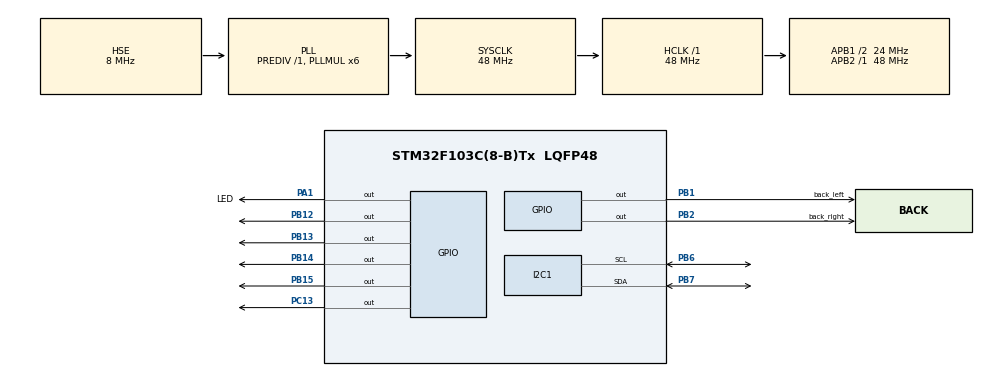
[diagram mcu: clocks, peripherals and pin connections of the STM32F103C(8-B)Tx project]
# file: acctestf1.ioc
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I2C1.I2C_Mode=I2C_Standard
Mcu.Family=STM32F1
Mcu.Name=STM32F103C(8-B)Tx
Mcu.Package=LQFP48
NVIC.PriorityGroup=NVIC_PRIORITYGROUP_4
PA1.GPIO_Label=LED
PA1.Signal=GPIO_Output
PA13.Mode=Serial_Wire
PA13.Signal=SYS_JTMS-SWDIO
PA14.Mode=Serial_Wire
PA14.Signal=SYS_JTCK-SWCLK
PB1.GPIO_Label=back_left
PB1.Signal=GPIO_Output
PB12.Signal=GPIO_Output
PB13.Signal=GPIO_Output
PB14.Signal=GPIO_Output
PB15.Signal=GPIO_Output
PB2.GPIO_Label=back_right
PB2.Signal=GPIO_Output
PB6.Mode=I2C
PB6.Signal=I2C1_SCL
PB7.Mode=I2C
PB7.Signal=I2C1_SDA
PC13-TAMPER-RTC.PinState=GPIO_PIN_SET
PC13-TAMPER-RTC.Signal=GPIO_Output
PC14-OSC32_IN.Mode=LSE-External-Oscillator
PC14-OSC32_IN.Signal=RCC_OSC32_IN
PC15-OSC32_OUT.Mode=LSE-External-Oscillator
PC15-OSC32_OUT.Signal=RCC_OSC32_OUT
PD0-OSC_IN.Mode=HSE-External-Oscillator
PD0-OSC_IN.Signal=RCC_OSC_IN
PD1-OSC_OUT.Mode=HSE-External-Oscillator
PD1-OSC_OUT.Signal=RCC_OSC_OUT
ProjectManager.HeapSize=0x400
ProjectManager.StackSize=0x400
ProjectManager.TargetToolchain=SW4STM32
RCC.AHBFreq_Value=48000000
RCC.APB1CLKDivider=RCC_HCLK_DIV2
RCC.APB1Freq_Value=24000000
RCC.APB1TimFreq_Value=48000000
RCC.APB2Freq_Value=48000000
RCC.APB2TimFreq_Value=48000000
RCC.EnbaleCSS=true
RCC.HCLKFreq_Value=48000000
RCC.PLLMUL=RCC_PLL_MUL6
RCC.PLLSourceVirtual=RCC_PLLSOURCE_HSE
RCC.SYSCLKFreq_VALUE=48000000
RCC.SYSCLKSource=RCC_SYSCLKSOURCE_PLLCLK
RCC.USBFreq_Value=48000000
board=custom

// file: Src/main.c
/* USER CODE BEGIN Header */
/**
  ******************************************************************************
  * @file           : main.c
  * @brief          : Main program body
  ******************************************************************************
  * @attention
  *
  * <h2><center>&copy; Copyright (c) 2020 STMicroelectronics.
  * All rights reserved.</center></h2>
  *
  * This software component is licensed by ST under BSD 3-Clause license,
  * the "License"; You may not use this file except in compliance with the
  * License. You may obtain a copy of the License at:
  *                        opensource.org/licenses/BSD-3-Clause
  *
  ******************************************************************************
  */
/* USER CODE END Header */

#include "main.h"

/* USER CODE BEGIN Includes */
#include "u8g2.h"
/* USER CODE END Includes */

/* USER CODE BEGIN PTD */
typedef struct accel{
	int8_t x;
	int8_t y;
	int8_t z;
}acc;
/* USER CODE END PTD */

I2C_HandleTypeDef hi2c1;

/* USER CODE BEGIN PV */
static u8g2_t u8g2;
/* USER CODE END PV */

void SystemClock_Config(void);
static void MX_GPIO_Init(void);
static void MX_I2C1_Init(void);
/* USER CODE BEGIN PFP */
extern uint8_t u8x8_stm32_gpio_and_delay(u8x8_t *u8x8, uint8_t msg, uint8_t arg_int, void *arg_ptr);
extern uint8_t u8x8_byte_stm32_hw_i2c(u8x8_t *u8x8, uint8_t msg, uint8_t arg_int, void *arg_ptr);
/* USER CODE END PFP */

/* USER CODE BEGIN 0 */

acc readacc(void){
	acc axis;
	uint8_t i2cbuffer[8];
	i2cbuffer[0] = 0b10101000;
	HAL_I2C_Master_Transmit(&hi2c1,0b0011001<<1,i2cbuffer,1,1000);
	HAL_I2C_Master_Receive(&hi2c1,0b00110011,i2cbuffer,6,1000);
	//HAL_GPIO_TogglePin(GPIOC,GPIO_PIN_13);
	axis.x = i2cbuffer[1];
	axis.y = i2cbuffer[3];
	axis.z = i2cbuffer[5];
	return axis;
}

void legstoground(){
	acc pos;
	acc last_pos;
	last_pos = readacc();
	//start front motors
	HAL_GPIO_WritePin(GPIOB,GPIO_PIN_3,1);
	HAL_GPIO_WritePin(GPIOB,GPIO_PIN_4,1);
	//HAL_GPIO
	HAL_Delay(10);
	pos = readacc();
	while (!(last_pos.x+2 > pos.x || last_pos.x-2 < pos.x)){
		pos = readacc();
		//retract front time
	}
	HAL_GPIO_WritePin(GPIOB,GPIO_PIN_3,1);
	HAL_GPIO_WritePin(GPIOB,GPIO_PIN_4,1);
	HAL_Delay(10);
	HAL_GPIO_WritePin(GPIOB,GPIO_PIN_1,1);
	HAL_GPIO_WritePin(GPIOB,GPIO_PIN_2,1);
	HAL_Delay(10);
	while (!(last_pos.y+2 > pos.y || last_pos.y-2 < pos.y)){

	}

}

/* USER CODE END 0 */

int main(void)
{

  /* MCU Configuration--------------------------------------------------------*/

  /* Reset of all peripherals, Initializes the Flash interface and the Systick. */
  HAL_Init();

  /* Configure the system clock */
  SystemClock_Config();

  /* Initialize all configured peripherals */
  MX_GPIO_Init();
  MX_I2C1_Init();
  /* USER CODE BEGIN 2 */
  uint8_t buffer[8];
  acc position;

	__HAL_RCC_I2C1_FORCE_RESET();
  HAL_Delay(200);
  __HAL_RCC_I2C1_RELEASE_RESET();

  u8g2_Setup_ssd1306_128x32_winstar_1(&u8g2, U8G2_R0, u8x8_byte_stm32_hw_i2c, u8x8_stm32_gpio_and_delay);

  u8g2_InitDisplay(&u8g2);
  u8g2_SetPowerSave(&u8g2, 0);

  buffer[0] = 0x20;
  buffer[1] = 0b01000111;
  //HAL_StatusTypeDef status = HAL_BUSY;
  HAL_I2C_Master_Transmit(&hi2c1,0b0011001<<1,buffer,2,2000);
  //buffer[0] = 0b00000111;
  //HAL_I2C_Master_Transmit(&hi2c1,0b0011001<<1,buffer,1,500);
  /*position = readi2c();
  if (position.x > 127){
  	position.x = !position.x;
  	dir = "-";
  }
  if (position.y > 127){
      position.y = !position.y;
      dir = "-";
  }
  if (position.z > 127){
      position.z = !position.z;
      dir = "-";
  }
  if (position.x > position.y && position.x > position.z){
  	down = 'x';
  }
  if (position.y > position.x && position.y > position.z){
  	down = 'y';
  }
  if (position.z > position.x && position.z > position.y){
  	down = 'z';
  }*/
  /* USER CODE END 2 */

  /* Infinite loop */
  while (1)
  {

    /* USER CODE BEGIN 3 */
	position = readacc();
	HAL_GPIO_WritePin(GPIOB,GPIO_PIN_15,0);
	HAL_GPIO_WritePin(GPIOB,GPIO_PIN_14,0);
	HAL_GPIO_WritePin(GPIOB,GPIO_PIN_13,0);
	HAL_GPIO_WritePin(GPIOB,GPIO_PIN_12,0);
	if (position.x < -2 && position.y < -2){
		HAL_GPIO_WritePin(GPIOB,GPIO_PIN_15,1);//fl
	}
	if (position.x < -2 && position.y > 2){
		HAL_GPIO_WritePin(GPIOB,GPIO_PIN_14,1);//fr
		u8g2_FirstPage(&u8g2);
		do{
			u8g2_SetFont(&u8g2,u8g2_font_5x7_tr);
			u8g2_DrawStr(&u8g2,0,7,"Hello World!");
		}while (u8g2_NextPage(&u8g2));
	}
	if (position.x > 2 && position.y < -2){
		HAL_GPIO_WritePin(GPIOB,GPIO_PIN_13,1);//bl
	}
	if (position.x > 2 && position.y > 2){
		HAL_GPIO_WritePin(GPIOB,GPIO_PIN_12,1);//br
	}
	if (position.x < -2 && (position.y >= -2 && position.y <= 2)){//f
		HAL_GPIO_WritePin(GPIOB,GPIO_PIN_15,1);
		HAL_GPIO_WritePin(GPIOB,GPIO_PIN_14,1);
	}
	if (position.x > 2 && (position.y >= -2 && position.y <= 2)){//b
		HAL_GPIO_WritePin(GPIOB,GPIO_PIN_12,1);
		HAL_GPIO_WritePin(GPIOB,GPIO_PIN_13,1);
	}
	if (position.y < -2 && (position.x >= -2 && position.x <= 2)){//l
		HAL_GPIO_WritePin(GPIOB,GPIO_PIN_15,1);
		HAL_GPIO_WritePin(GPIOB,GPIO_PIN_13,1);
	}
	if (position.y > 2 && (position.x >= -2 && position.x <= 2)){//r
		HAL_GPIO_WritePin(GPIOB,GPIO_PIN_14,1);
		HAL_GPIO_WritePin(GPIOB,GPIO_PIN_12,1);
	}
	HAL_Delay(100);
  }
  /* USER CODE END 3 */
}

void SystemClock_Config(void)
{
  RCC_OscInitTypeDef RCC_OscInitStruct = {0};
  RCC_ClkInitTypeDef RCC_ClkInitStruct = {0};

  /** Initializes the CPU, AHB and APB busses clocks
  */
  RCC_OscInitStruct.OscillatorType = RCC_OSCILLATORTYPE_HSE;
  RCC_OscInitStruct.HSEState = RCC_HSE_ON;
  RCC_OscInitStruct.HSEPredivValue = RCC_HSE_PREDIV_DIV1;
  RCC_OscInitStruct.HSIState = RCC_HSI_ON;
  RCC_OscInitStruct.PLL.PLLState = RCC_PLL_ON;
  RCC_OscInitStruct.PLL.PLLSource = RCC_PLLSOURCE_HSE;
  RCC_OscInitStruct.PLL.PLLMUL = RCC_PLL_MUL6;
  if (HAL_RCC_OscConfig(&RCC_OscInitStruct) != HAL_OK)
  {
    Error_Handler();
  }
  /** Initializes the CPU, AHB and APB busses clocks
  */
  RCC_ClkInitStruct.ClockType = RCC_CLOCKTYPE_HCLK|RCC_CLOCKTYPE_SYSCLK
                              |RCC_CLOCKTYPE_PCLK1|RCC_CLOCKTYPE_PCLK2;
  RCC_ClkInitStruct.SYSCLKSource = RCC_SYSCLKSOURCE_PLLCLK;
  RCC_ClkInitStruct.AHBCLKDivider = RCC_SYSCLK_DIV1;
  RCC_ClkInitStruct.APB1CLKDivider = RCC_HCLK_DIV2;
  RCC_ClkInitStruct.APB2CLKDivider = RCC_HCLK_DIV1;

  if (HAL_RCC_ClockConfig(&RCC_ClkInitStruct, FLASH_LATENCY_1) != HAL_OK)
  {
    Error_Handler();
  }
  /** Enables the Clock Security System
  */
  HAL_RCC_EnableCSS();
}

static void MX_I2C1_Init(void)
{

  hi2c1.Instance = I2C1;
  hi2c1.Init.ClockSpeed = 100000;
  hi2c1.Init.DutyCycle = I2C_DUTYCYCLE_2;
  hi2c1.Init.OwnAddress1 = 0;
  hi2c1.Init.AddressingMode = I2C_ADDRESSINGMODE_7BIT;
  hi2c1.Init.DualAddressMode = I2C_DUALADDRESS_DISABLE;
  hi2c1.Init.OwnAddress2 = 0;
  hi2c1.Init.GeneralCallMode = I2C_GENERALCALL_DISABLE;
  hi2c1.Init.NoStretchMode = I2C_NOSTRETCH_DISABLE;
  if (HAL_I2C_Init(&hi2c1) != HAL_OK)
  {
    Error_Handler();
  }

}

static void MX_GPIO_Init(void)
{
  GPIO_InitTypeDef GPIO_InitStruct = {0};

  /* GPIO Ports Clock Enable */
  __HAL_RCC_GPIOC_CLK_ENABLE();
  __HAL_RCC_GPIOD_CLK_ENABLE();
  __HAL_RCC_GPIOA_CLK_ENABLE();
  __HAL_RCC_GPIOB_CLK_ENABLE();

  /*Configure GPIO pin Output Level */
  HAL_GPIO_WritePin(GPIOC, GPIO_PIN_13, GPIO_PIN_SET);

  /*Configure GPIO pin Output Level */
  HAL_GPIO_WritePin(LED_GPIO_Port, LED_Pin, GPIO_PIN_RESET);

  /*Configure GPIO pin Output Level */
  HAL_GPIO_WritePin(GPIOB, back_left_Pin|back_right_Pin|GPIO_PIN_12|GPIO_PIN_13
                          |GPIO_PIN_14|GPIO_PIN_15, GPIO_PIN_RESET);

  /*Configure GPIO pin : PC13 */
  GPIO_InitStruct.Pin = GPIO_PIN_13;
  GPIO_InitStruct.Mode = GPIO_MODE_OUTPUT_PP;
  GPIO_InitStruct.Pull = GPIO_NOPULL;
  GPIO_InitStruct.Speed = GPIO_SPEED_FREQ_LOW;
  HAL_GPIO_Init(GPIOC, &GPIO_InitStruct);

  /*Configure GPIO pin : LED_Pin */
  GPIO_InitStruct.Pin = LED_Pin;
  GPIO_InitStruct.Mode = GPIO_MODE_OUTPUT_PP;
  GPIO_InitStruct.Pull = GPIO_NOPULL;
  GPIO_InitStruct.Speed = GPIO_SPEED_FREQ_LOW;
  HAL_GPIO_Init(LED_GPIO_Port, &GPIO_InitStruct);

  /*Configure GPIO pins : back_left_Pin back_right_Pin PB12 PB13
                           PB14 PB15 */
  GPIO_InitStruct.Pin = back_left_Pin|back_right_Pin|GPIO_PIN_12|GPIO_PIN_13
                          |GPIO_PIN_14|GPIO_PIN_15;
  GPIO_InitStruct.Mode = GPIO_MODE_OUTPUT_PP;
  GPIO_InitStruct.Pull = GPIO_NOPULL;
  GPIO_InitStruct.Speed = GPIO_SPEED_FREQ_LOW;
  HAL_GPIO_Init(GPIOB, &GPIO_InitStruct);

}

void Error_Handler(void)
{
}

/************************ (C) COPYRIGHT STMicroelectronics *****END OF FILE****/
